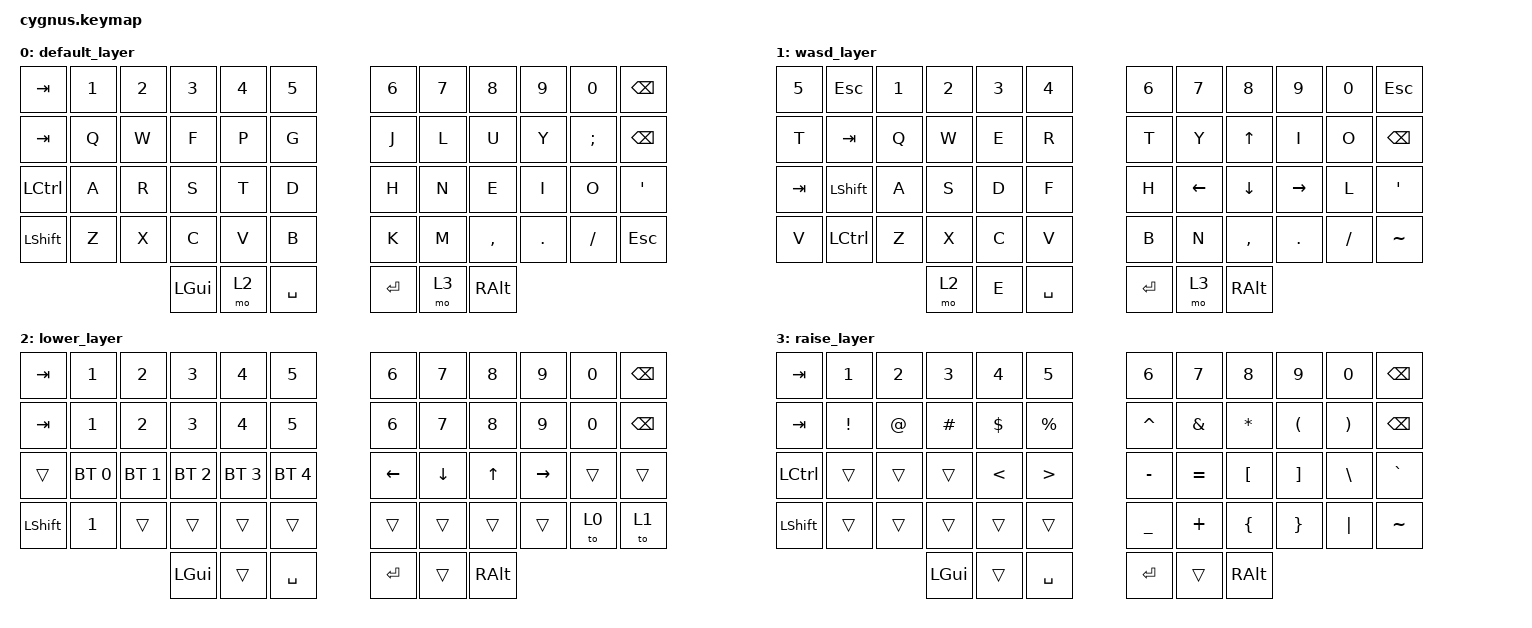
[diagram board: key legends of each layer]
#include <behaviors.dtsi>
#include <dt-bindings/zmk/keys.h>
#include <dt-bindings/zmk/bt.h>

/ {
  // conditional_layers {
  //              compatible = "zmk,conditional-layers";
  //              tri_layer {
  //                if-layers = <2 3>;
  //                then-layer = <4>;
  //              };
  //      }; 
        keymap {
                compatible = "zmk,keymap";

                default_layer {
// -----------------------------------------------------------------------------------------
// |  ESC |  1  |  2  |  3  |  4  |  5  |   |  6  |  7   |  8  |  9  |  0  |  ?   |
// |  TAB |  Q  |  W  |  F  |  P  |  G  |   |  J  |  L  |  U  |  Y  |  ;  | BKSP |
// | CTRL |  A  |  R  |  S  |  T  |  D  |   |  H  |  N  |  E  |  I  |  O  |  '   |
// | SHFT |  Z  |  X  |  C  |  V  |  B  |   |  K  |  M  |  ,  |  .  |  /  | ESC  |
//                    | GUI | LWR | SPC |   | ENT | RSE  | ALT |
                        bindings = <
   &kp TAB &kp N1 &kp N2 &kp N3 &kp N4 &kp N5 &kp N6 &kp N7 &kp N8 &kp N9 &kp N0 &kp BSPC
   &kp TAB   &kp Q &kp W &kp F &kp P &kp G   &kp J &kp L  &kp U     &kp Y   &kp SEMI &kp BSPC
   &kp LCTRL &kp A &kp R &kp S &kp T &kp D   &kp H &kp N  &kp E     &kp I   &kp O    &kp SQT
   &kp LSHFT &kp Z &kp X &kp C &kp V &kp B   &kp K &kp M  &kp COMMA &kp DOT &kp FSLH &kp ESC
                   &kp LGUI &mo 2 &kp SPACE   &kp RET &mo 3 &kp RALT
                        >;
                };

                wasd_layer {
// -----------------------------------------------------------------------------------------
// |  5  | ESC |  1  |  2  |  3  |  4  |   |  6  |  7   |  8  |  9  |  0  |  ?   |
// |  T  | TAB |  Q  |  W  |  E  |  R  |  |  T  |  Y  |  UP |  I  |  O  | BKSP |
// |  G  |SHFT |  A  |  S  |  D  |  F  |  |  H  | LEFT| DOWN| RGHT|  L  |  '   |  
// |  B  |CTRL |  Z  |  X  |  C  |  V  |  |  B  |  N  |  ,  |  .  |  /  |  ~   |
//                   | LWR |  G  | SPC |  | ENT | RSE | ALT |
//                        display-name = "WASD";
                        bindings = <
    &kp 5     &kp ESC   &kp N1 &kp N2 &kp N3 &kp N4   &kp N6 &kp N7 &kp N8 &kp N9 &kp N0 &kp ESC 
    &kp T     &kp TAB   &kp Q  &kp W  &kp E  &kp R    &kp T  &kp Y  &kp UP &kp I  &kp O  &kp BSPC
    &kp TAB   &kp LSHFT &kp A  &kp S  &kp D  &kp F    &kp H  &kp LEFT &kp DOWN  &kp RIGHT &kp L  &kp SQT
    &kp V     &kp LCTRL &kp Z  &kp X  &kp C  &kp V    &kp B &kp N    &kp COMMA &kp DOT  &kp FSLH &kp TILDE
                               &mo 2 &kp E &kp SPACE  &kp RET &mo 3 &kp RALT
                        >;
                };

                lower_layer {
// -----------------------------------------------------------------------------------------
// |  TAB |  F1 |  F2 |  F3 |  F4 |  F5 |   |  F6 |  F7 |  F8 |  F9 | F10 | BKSP |
// |  TAB |  1  |  2  |  3  |  4  |  5  |   |  6  |  7  |  8  |  9  |  0  | BKSP |
// | BTCLR| BT1 | BT2 | BT3 | BT4 | BT5 |   | LFT | DWN |  UP | RGT |     |      |
// | SHFT |     |     |     |     |     |   |     |     |     |     |     |      |
//                    | GUI |     | SPC |   | ENT |     | ALT |
                        bindings = <
   &kp TAB &kp N1 &kp N2 &kp N3 &kp N4 &kp N5 &kp N6 &kp N7 &kp N8 &kp N9 &kp N0 &kp BSPC
   &kp TAB    &kp N1       &kp N2       &kp N3       &kp N4       &kp N5         &kp N6   &kp N7   &kp N8 &kp N9 &kp N0 &kp BSPC
   &trans &bt BT_SEL 0 &bt BT_SEL 1 &bt BT_SEL 2 &bt BT_SEL 3 &bt BT_SEL 4       &kp LEFT &kp DOWN &kp UP &kp RIGHT  &trans &trans
   &kp LSHFT  &kp N1       &trans       &trans       &trans       &trans         &trans   &trans   &trans &trans &to 0  &to 1
                                    &kp LGUI     &trans       &kp SPACE      &kp RET  &trans   &kp RALT
                        >;
                };

                raise_layer {
// -----------------------------------------------------------------------------------------
// |  TAB |  !  |  @  |  #  |  $  |  %  |   |  ^  |  &  |  *  |  (  |  )  | BKSP |
// | CTRL |     |     |     |     |     |   |  -  |  =  |  [  |  ]  |  \  |  `   |
// | SHFT |     |     |     |     |     |   |  _  |  +  |  {  |  }  | "|" |  ~   |
//                    | GUI |     | SPC |   | ENT |     | ALT |
                        bindings = <
   &kp TAB &kp N1 &kp N2 &kp N3 &kp N4 &kp N5 &kp N6 &kp N7 &kp N8 &kp N9 &kp N0 &kp BSPC
   &kp  TAB  &kp EXCL &kp AT &kp HASH &kp DLLR &kp PRCNT   &kp CARET &kp AMPS  &kp ASTRK &kp LPAR &kp RPAR &kp BSPC
   &kp LCTRL &trans   &trans &trans   &kp LT   &kp GT      &kp MINUS &kp EQUAL &kp LBKT  &kp RBKT &kp BSLH &kp GRAVE
   &kp LSHFT &trans   &trans &trans   &trans   &trans      &kp UNDER &kp PLUS  &kp LBRC  &kp RBRC &kp PIPE &kp TILDE
                             &kp LGUI &trans   &kp SPACE   &kp RET   &trans    &kp RALT
                        >;
                };
     //           fn_layer {
// -----------------------------------------------------------------------------------------
// |    |  F1 |  F2 |  F3 |  F4 |  F5 |   |  F6   |  F7   |   F8 |  F9        | F10 |      |
// |    | F11 | F12 | F13 | F14 | F15 |   | VOL + | VOL - | MUTE | Play/Pause |     |      |        
// |    |     |     |     |     |     |   |       |       |      |            |     |      |
//                    | GUI |     | SPC |   | ENT |     | ALT |
       //                 display-name = "Fn";
       //                 bindings = <
//    &kp TAB &kp N1 &kp N2 &kp N3 &kp N4 &kp N5 &kp N6 &kp N7 &kp N8 &kp N9 &kp N0 &kp BSPC
//    &trans &kp F1 &kp F2 &kp F3 &kp F4 &kp F5   &kp F6 &kp F7 &kp F8 &kp F9 &kp F10 &trans
//    &trans &kp F11 &kp F12 &kp F13 &kp F14 &kp F15   &kp C_VOL_UP &kp C_VOL_DN &kp C_MUTE &kp C_PLAY_PAUSE &trans &trans
//    &trans &bt BT_CLR &trans &trans &trans &trans   &trans &trans &trans &trans &trans &trans
//                    &kp LGUI &trans &kp SPACE   &kp RET &trans &kp RALT
//                        >;
//                };
        };
};
